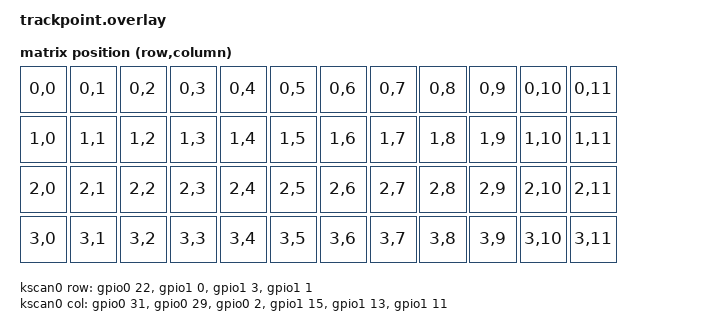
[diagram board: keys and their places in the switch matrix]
/*
 * Trackpoint Shield - Minimal Corne-compatible kscan + PS/2 Trackpoint
 *
 * SPDX-License-Identifier: MIT
 */

#include <dt-bindings/zmk/matrix_transform.h>

/ {
	chosen {
		zmk,kscan = &kscan0;
		zmk,matrix_transform = &five_column_transform;
	};

	kscan0: kscan {
		compatible = "zmk,kscan-gpio-matrix";
		diode-direction = "col2row";
		col-gpios
			= <&gpio0 31 GPIO_ACTIVE_HIGH>
			, <&gpio0 29 GPIO_ACTIVE_HIGH>
			, <&gpio0 2  GPIO_ACTIVE_HIGH>
			, <&gpio1 15 GPIO_ACTIVE_HIGH>
			, <&gpio1 13 GPIO_ACTIVE_HIGH>
			, <&gpio1 11 GPIO_ACTIVE_HIGH>
			;
		row-gpios
			= <&gpio0 22 (GPIO_ACTIVE_HIGH | GPIO_PULL_DOWN)>
			, <&gpio1 0  (GPIO_ACTIVE_HIGH | GPIO_PULL_DOWN)>
			, <&gpio1 3  (GPIO_ACTIVE_HIGH | GPIO_PULL_DOWN)>
			, <&gpio1 1  (GPIO_ACTIVE_HIGH | GPIO_PULL_DOWN)>
			;
	};

	five_column_transform: five_column_transform {
		compatible = "zmk,matrix-transform";
		columns = <12>;
		rows = <4>;
		map = <
RC(0,0) RC(0,1) RC(0,2) RC(0,3) RC(0,4) RC(0,5)  RC(0,6) RC(0,7) RC(0,8) RC(0,9) RC(0,10) RC(0,11)
RC(1,0) RC(1,1) RC(1,2) RC(1,3) RC(1,4) RC(1,5)  RC(1,6) RC(1,7) RC(1,8) RC(1,9) RC(1,10) RC(1,11)
RC(2,0) RC(2,1) RC(2,2) RC(2,3) RC(2,4) RC(2,5)  RC(2,6) RC(2,7) RC(2,8) RC(2,9) RC(2,10) RC(2,11)
RC(3,0) RC(3,1) RC(3,2) RC(3,3) RC(3,4) RC(3,5)  RC(3,6) RC(3,7) RC(3,8) RC(3,9) RC(3,10) RC(3,11)
		>;
	};
};

/*
 * PS/2 Trackpoint - GPIO Bit-Banging Driver
 *
 * Pins:
 *   CLK -> P0.06 (D4 on pro-micro)
 *   DAT -> P0.08 (D0 on pro-micro)
 *   RST -> float (not connected)
 *
 * The GPIO driver bit-bangs PS/2: GPIO interrupt on CLK falling edge,
 * sample DAT GPIO, build byte bit-by-bit. Identical approach to the
 * proven-working Arduino Leonardo sketches (ps2-sanity.ino, ps2-mouse.ino).
 */

/ {
	gpio_ps2: gpio_ps2 {
		status = "okay";
		compatible = "gpio-ps2";
		scl-gpios = <&gpio0 6 GPIO_ACTIVE_HIGH>;
		sda-gpios = <&gpio0 8 GPIO_ACTIVE_HIGH>;
	};

	mouse_ps2: mouse_ps2 {
		status = "okay";
		compatible = "zmk,input-mouse-ps2";
		ps2-device = <&gpio_ps2>;
		disable-clicking;
	};

	mouse_ps2_input_listener: mouse_ps2_input_listener {
		compatible = "zmk,input-listener-ps2";
		status = "okay";
		device = <&mouse_ps2>;
		y-invert;
	};
};
